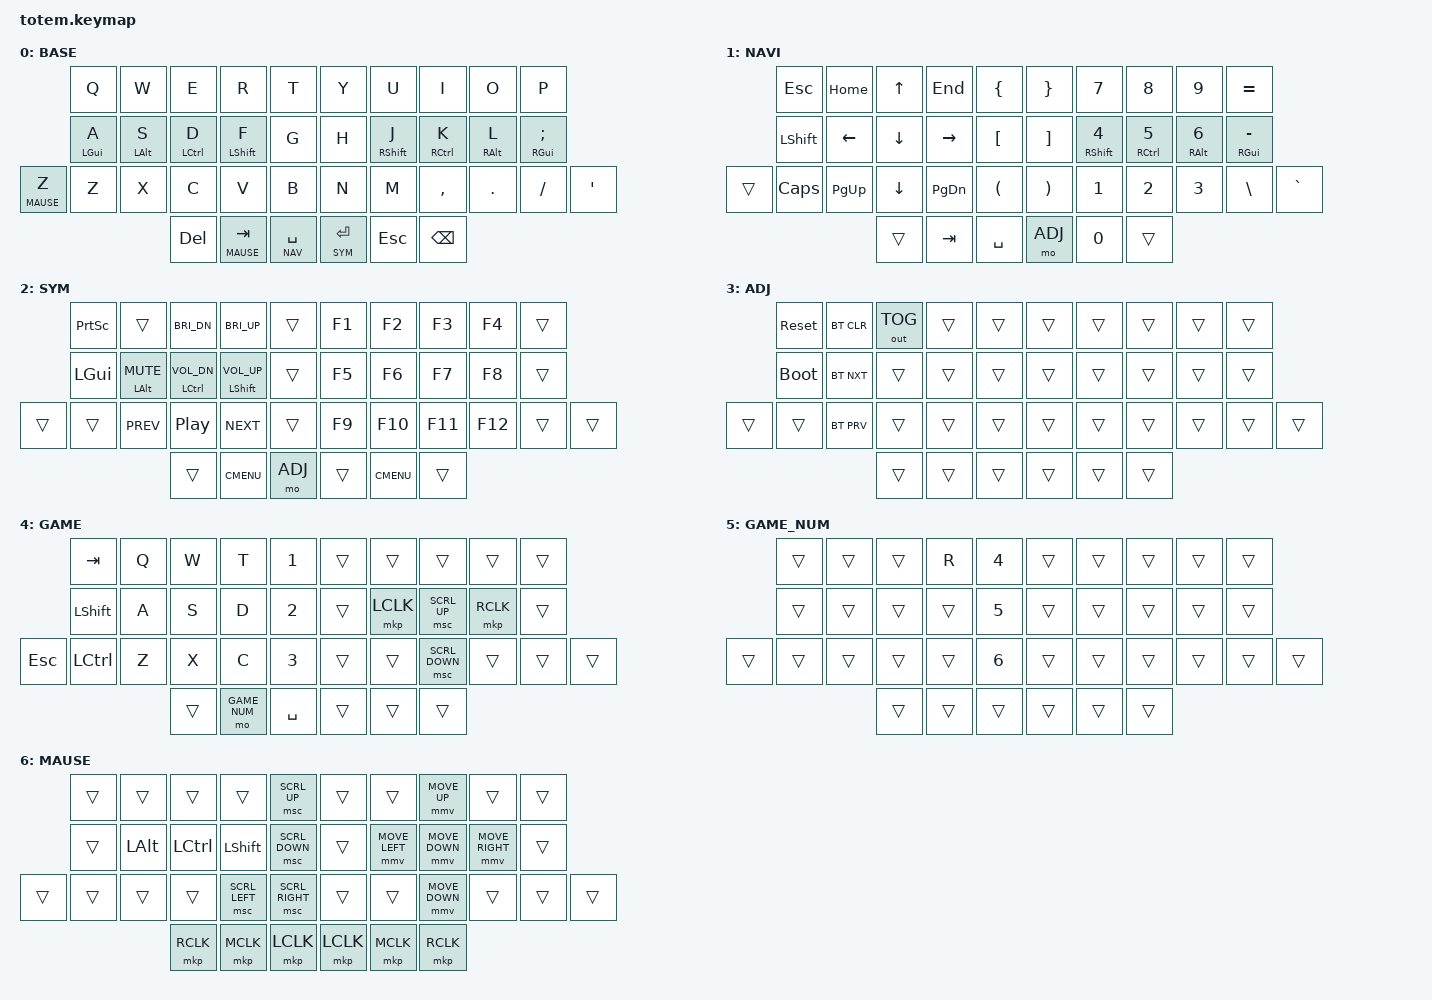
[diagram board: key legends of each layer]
//
//                                                        ▀▀▀▀▀     ▀▀▀▀▀          ▀▀█▀▀
//                                                        ▄▀▀▀▄  ▄  ▄▀▀▀▄  ▄  ▄▀▀▀▄  █  ▄▀▀▀▄
//                                                        █   █  █  █   █  █  █   █  █  █   █
//                                                         ▀▀▀   █   ▀▀▀   █   ▀▀▀   ▀   ▀▀▀
//                                                               █      ▄▄▄█▄▄▄    █   █  
//                                                               ▀      █  █  █     █▄█
//                                                             ▀▀▀▀▀    █  █  █      ▀
//                                                                      ▀  ▀  ▀
//
// ▄▄▄▄▄▄▄▄▄▄▄▄▄▄▄▄▄▄▄▄▄▄▄▄▄▄▄▄▄▄▄▄▄▄▄▄▄▄▄▄▄▄▄▄▄▄▄▄▄▄▄▄▄▄▄▄▄▄▄▄▄▄▄▄▄▄▄▄▄▄▄▄▄▄▄▄▄▄▄▄▄▄▄▄▄▄▄▄▄▄▄▄▄▄▄▄▄▄▄▄▄▄▄▄▄▄▄▄▄▄▄▄▄▄▄▄▄▄▄▄▄▄▄▄▄▄▄▄▄▄▄▄▄▄▄▄▄▄▄▄▄▄▄▄▄▄▄▄▄

#include <behaviors.dtsi>
#include <dt-bindings/zmk/bt.h>
#include <dt-bindings/zmk/keys.h>
#include <dt-bindings/zmk/outputs.h>
#include <dt-bindings/zmk/pointing.h>

#define ZMK_POINTING_DEFAULT_MOVE_VAL 600  // default: 600
#define ZMK_POINTING_DEFAULT_SCRL_VAL 10   // default: 10

#define BASE 0
#define NAV  1
#define SYM  2
#define ADJ  3
#define GAME 4
#define GAME_NUM 5
#define MAUSE 6


&mt {
    quick-tap-ms = <100>;
    global-quick-tap;
    flavor = "tap-preferred";
    tapping-term-ms = <170>;
};

/ {
    combos {
        compatible = "zmk,combos";

        combo_esc {
            timeout-ms = <50>;
            key-positions = <0 1>;
            bindings = <&kp ESC>;
        };

        combo_game {
            timeout-ms = <50>;
            key-positions = <0 4>;
            bindings = <&tog GAME>;
        };
    };

    macros {
        gif: gif {
            label = "giphy";
            compatible = "zmk,behavior-macro";
            #binding-cells = <0>;
            bindings
                = <&macro_press &kp LSHFT>
                , <&macro_tap &kp N2>
                , <&macro_release &kp LSHFT>
                , <&macro_tap &kp G &kp I &kp F>
                ;
        };
    };



    keymap {
                compatible = "zmk,keymap";
// ▄▄▄▄▄▄▄▄▄▄▄▄▄▄▄▄▄▄▄▄▄▄▄▄▄▄▄▄▄▄▄▄▄▄▄▄▄▄▄▄▄▄▄▄▄▄▄▄▄▄▄▄▄▄▄▄▄▄▄▄▄▄▄▄▄▄▄▄▄▄▄▄▄▄▄▄▄▄▄▄▄▄▄▄▄▄▄▄▄▄▄▄▄▄▄▄▄▄▄▄▄▄▄▄▄▄▄▄▄▄▄▄▄▄▄▄▄▄▄▄▄▄▄▄▄▄▄▄▄▄▄▄▄▄▄▄▄▄▄▄▄▄▄▄▄▄▄▄▄

                base_layer {
// ┏━━━━━━━━━━━━━━━━━━━━━━━━━━━━━━━━━━━━━━━┓
label= "BASE"                              ;
// ┗━━━━━━━━━━━━━━━━━━━━━━━━━━━━━━━━━━━━━━━┛
//             ┏━━━━━━━━━━━┳━━━━━━━━━━━┳━━━━━━━━━━━┳━━━━━━━━━━━┳━━━━━━━━━━━┓   ┏━━━━━━━━━━━┳━━━━━━━━━━━┳━━━━━━━━━━━┳━━━━━━━━━━━┳━━━━━━━━━━━┓
//             ┃     Q     ┃     W     ┃     E     ┃     R     ┃     T     ┃   ┃     Y     ┃     U     ┃     I     ┃     O     ┃     P     ┃
//             ┣━━━━━━━━━━━╋━━━━━━━━━━━╋━━━━━━━━━━━╋━━━━━━━━━━━╋━━━━━━━━━━━┫   ┣━━━━━━━━━━━╋━━━━━━━━━━━╋━━━━━━━━━━━╋━━━━━━━━━━━╋━━━━━━━━━━━┫
//             ┃     A     ┃     S     ┃     D     ┃     F     ┃     G     ┃   ┃     H     ┃     J     ┃     K     ┃     L     ┃     ;:    ┃
// ┏━━━━━━━━━━━╋━━━━━━━━━━━╋━━━━━━━━━━━╋━━━━━━━━━━━╋━━━━━━━━━━━╋━━━━━━━━━━━┫   ┣━━━━━━━━━━━╋━━━━━━━━━━━╋━━━━━━━━━━━╋━━━━━━━━━━━╋━━━━━━━━━━━╋━━━━━━━━━━━┓
// ┃           ┃     Z     ┃     X     ┃     C     ┃     V     ┃     B     ┃   ┃     N     ┃     M     ┃     ,<    ┃     .>    ┃     /?    ┃     ' "   ┃
// ┗━━━━━━━━━━━┻━━━━━━━━━━━┻━━━━━━━━━━━╋━━━━━━━━━━━╋━━━━━━━━━━━╋━━━━━━━━━━━┫   ┣━━━━━━━━━━━╋━━━━━━━━━━━╋━━━━━━━━━━━╋━━━━━━━━━━━┻━━━━━━━━━━━┻━━━━━━━━━━━┛
//                                     ┃    DEL    ┃ TAB/Mause ┃    SPC    ┃   ┃   ENTER   ┃    ESC    ┃    BSPC   ┃
//                                     ┗━━━━━━━━━━━┻━━━━━━━━━━━┻━━━━━━━━━━━┛   ┗━━━━━━━━━━━┻━━━━━━━━━━━┻━━━━━━━━━━━┛
 bindings = <
// ╷           ╷           ╷           ╷           ╷           ╷           ╷   ╷           ╷           ╷           ╷           ╷           ╷           ╷

                &kp Q       &kp W       &kp E       &kp R       &kp T           &kp Y       &kp U       &kp I       &kp O       &kp P
                &mt LGUI A  &mt LALT S  &mt LCTRL D &mt LSHFT F &kp G           &kp H       &mt RSHFT J &mt RCTRL K &mt RALT L  &mt RGUI SEMI
    &lt MAUSE Z &kp Z       &kp X       &kp C       &kp V       &kp B           &kp N       &kp M       &kp COMMA   &kp DOT     &kp FSLH    &kp SQT
                                        &kp DEL   &lt MAUSE TAB &lt NAV SPACE   &lt SYM RET &kp ESC    &kp BSPC
                        >;
                };

// ▄▄▄▄▄▄▄▄▄▄▄▄▄▄▄▄▄▄▄▄▄▄▄▄▄▄▄▄▄▄▄▄▄▄▄▄▄▄▄▄▄▄▄▄▄▄▄▄▄▄▄▄▄▄▄▄▄▄▄▄▄▄▄▄▄▄▄▄▄▄▄▄▄▄▄▄▄▄▄▄▄▄▄▄▄▄▄▄▄▄▄▄▄▄▄▄▄▄▄▄▄▄▄▄▄▄▄▄▄▄▄▄▄▄▄▄▄▄▄▄▄▄▄▄▄▄▄▄▄▄▄▄▄▄▄▄▄▄▄▄▄▄▄▄▄▄▄▄▄


                nav_layer {
// ┏━━━━━━━━━━━━━━━━━━━━━━━━━━━━━━━━━━━━━━━┓
label= "NAVI"                              ;
// ┗━━━━━━━━━━━━━━━━━━━━━━━━━━━━━━━━━━━━━━━┛
//             ┏━━━━━━━━━━━┳━━━━━━━━━━━┳━━━━━━━━━━━┳━━━━━━━━━━━┳━━━━━━━━━━━┓   ┏━━━━━━━━━━━┳━━━━━━━━━━━┳━━━━━━━━━━━┳━━━━━━━━━━━┳━━━━━━━━━━━┓
//             ┃   esc     ┃   Home    ┃     UP    ┃    End    ┃     {     ┃   ┃     }     ┃     7 &   ┃     8 *   ┃     9 (   ┃     =+    ┃
//             ┣━━━━━━━━━━━╋━━━━━━━━━━━╋━━━━━━━━━━━╋━━━━━━━━━━━╋━━━━━━━━━━━┫   ┣━━━━━━━━━━━╋━━━━━━━━━━━╋━━━━━━━━━━━╋━━━━━━━━━━━╋━━━━━━━━━━━┫
//             ┃   SHIFT   ┃   LEFT    ┃    DOWN   ┃   RIGHT   ┃     [     ┃   ┃     ]     ┃     4 $   ┃     5 %   ┃     6 ^   ┃     -_    ┃
// ┏━━━━━━━━━━━╋━━━━━━━━━━━╋━━━━━━━━━━━╋━━━━━━━━━━━╋━━━━━━━━━━━╋━━━━━━━━━━━┫   ┣━━━━━━━━━━━╋━━━━━━━━━━━╋━━━━━━━━━━━╋━━━━━━━━━━━╋━━━━━━━━━━━╋━━━━━━━━━━━┓
// ┃           ┃   C LOCK  ┃   P UP    ┃    DOWN   ┃  P DOWN   ┃     (     ┃   ┃     )     ┃     1 !   ┃     2 @   ┃     3 #   ┃     \ ┃   ┃    `      ┃
// ┗━━━━━━━━━━━┻━━━━━━━━━━━┻━━━━━━━━━━━╋━━━━━━━━━━━╋━━━━━━━━━━━╋━━━━━━━━━━━┫   ┣━━━━━━━━━━━╋━━━━━━━━━━━╋━━━━━━━━━━━╋━━━━━━━━━━━┻━━━━━━━━━━━┻━━━━━━━━━━━┛
//                                     ┃           ┃    TAB    ┃    SPC    ┃   ┃    ADJ    ┃     0  )  ┃           ┃
//                                     ┗━━━━━━━━━━━┻━━━━━━━━━━━┻━━━━━━━━━━━┛   ┗━━━━━━━━━━━┻━━━━━━━━━━━┻━━━━━━━━━━━┛
 bindings = <
// ╷           ╷           ╷           ╷           ╷           ╷           ╷   ╷           ╷           ╷           ╷           ╷           ╷           ╷

                &kp ESC     &kp HOME    &kp UP      &kp END     &kp LBRC        &kp RBRC    &kp N7       &kp N8       &kp N9      &kp EQUAL
                &kp LSHFT   &kp LEFT    &kp DOWN    &kp RIGHT   &kp LBKT        &kp RBKT    &mt RSHFT N4 &mt RCTRL N5 &mt RALT N6 &mt RGUI MINUS
    &trans      &kp CAPS    &kp PG_UP   &kp DOWN    &kp PG_DN   &kp LPAR        &kp RPAR    &kp N1       &kp N2       &kp N3      &kp BSLH    &kp GRAVE     
                                        &trans      &kp TAB     &kp SPACE       &mo ADJ     &kp N0       &trans     
                        >;
                };

// ▄▄▄▄▄▄▄▄▄▄▄▄▄▄▄▄▄▄▄▄▄▄▄▄▄▄▄▄▄▄▄▄▄▄▄▄▄▄▄▄▄▄▄▄▄▄▄▄▄▄▄▄▄▄▄▄▄▄▄▄▄▄▄▄▄▄▄▄▄▄▄▄▄▄▄▄▄▄▄▄▄▄▄▄▄▄▄▄▄▄▄▄▄▄▄▄▄▄▄▄▄▄▄▄▄▄▄▄▄▄▄▄▄▄▄▄▄▄▄▄▄▄▄▄▄▄▄▄▄▄▄▄▄▄▄▄▄▄▄▄▄▄▄▄▄▄▄▄▄


                sim_layer {
// ┏━━━━━━━━━━━━━━━━━━━━━━━━━━━━━━━━━━━━━━━┓
label= "SYM"                               ;
// ┗━━━━━━━━━━━━━━━━━━━━━━━━━━━━━━━━━━━━━━━┛
//             ┏━━━━━━━━━━━┳━━━━━━━━━━━┳━━━━━━━━━━━┳━━━━━━━━━━━┳━━━━━━━━━━━┓             ┏━━━━━━━━━━━┳━━━━━━━━━━━┳━━━━━━━━━━━┳━━━━━━━━━━━┳━━━━━━━━━━━┓
//             ┃   PSCRN   ┃           ┃    bri-   ┃    bri+   ┃           ┃             ┃     F1    ┃     F2    ┃     F3    ┃     F4    ┃           ┃
//             ┣━━━━━━━━━━━╋━━━━━━━━━━━╋━━━━━━━━━━━╋━━━━━━━━━━━╋━━━━━━━━━━━┫             ┣━━━━━━━━━━━╋━━━━━━━━━━━╋━━━━━━━━━━━╋━━━━━━━━━━━╋━━━━━━━━━━━┫
//             ┃           ┃    MUTE   ┃    VOL-   ┃    VOL+   ┃           ┃             ┃     F5    ┃     F6    ┃     F7    ┃     F8    ┃           ┃
// ┏━━━━━━━━━━━╋━━━━━━━━━━━╋━━━━━━━━━━━╋━━━━━━━━━━━╋━━━━━━━━━━━╋━━━━━━━━━━━┫             ┣━━━━━━━━━━━╋━━━━━━━━━━━╋━━━━━━━━━━━╋━━━━━━━━━━━╋━━━━━━━━━━━╋━━━━━━━━━━━┓
// ┃           ┃           ┃    LAST   ┃ play/pause┃    NEXT   ┃           ┃             ┃     F9    ┃     F10   ┃     F11   ┃     F12   ┃           ┃           ┃
// ┗━━━━━━━━━━━┻━━━━━━━━━━━┻━━━━━━━━━━━╋━━━━━━━━━━━╋━━━━━━━━━━━╋━━━━━━━━━━━┫             ┣━━━━━━━━━━━╋━━━━━━━━━━━╋━━━━━━━━━━━╋━━━━━━━━━━━┻━━━━━━━━━━━┻━━━━━━━━━━━┛
//                                     ┃           ┃  K_CMENU  ┃    ADJ    ┃             ┃           ┃  K_CMENU  ┃           ┃
//                                     ┗━━━━━━━━━━━┻━━━━━━━━━━━┻━━━━━━━━━━━┛             ┗━━━━━━━━━━━┻━━━━━━━━━━━┻━━━━━━━━━━━┛
 bindings = <
// ╷           ╷           ╷           ╷           ╷           ╷           ╷             ╷           ╷           ╷           ╷           ╷           ╷           ╷

                &kp PSCRN    &trans     &kp C_BRI_DN &kp C_BRI_UP  &trans                   &kp F1       &kp F2      &kp F3      &kp F4      &trans        
                &kp LGUI &mt LALT C_MUTE &mt LCTRL C_VOL_DN &mt LSHFT C_VOL_UP  &trans      &kp F5       &kp F6      &kp F7      &kp F8      &trans  
    &trans      &trans       &kp C_PREV &kp C_PP     &kp C_NEXT    &trans                   &kp F9       &kp F10     &kp F11     &kp F12     &trans      &trans         
                                        &trans       &kp K_CMENU   &mo ADJ                  &trans       &kp K_CMENU &trans           
                        >;
                };

// ▄▄▄▄▄▄▄▄▄▄▄▄▄▄▄▄▄▄▄▄▄▄▄▄▄▄▄▄▄▄▄▄▄▄▄▄▄▄▄▄▄▄▄▄▄▄▄▄▄▄▄▄▄▄▄▄▄▄▄▄▄▄▄▄▄▄▄▄▄▄▄▄▄▄▄▄▄▄▄▄▄▄▄▄▄▄▄▄▄▄▄▄▄▄▄▄▄▄▄▄▄▄▄▄▄▄▄▄▄▄▄▄▄▄▄▄▄▄▄▄▄▄▄▄▄▄▄▄▄▄▄▄▄▄▄▄▄▄▄▄▄▄▄▄▄▄▄▄▄


                adjust_layer {
// ┏━━━━━━━━━━━━━━━━━━━━━━━━━━━━━━━━━━━━━━━┓
label= "ADJ"                               ;
// ┗━━━━━━━━━━━━━━━━━━━━━━━━━━━━━━━━━━━━━━━┛
//             ┏━━━━━━━━━━━┳━━━━━━━━━━━┳━━━━━━━━━━━┳━━━━━━━━━━━┳━━━━━━━━━━━┓   ┏━━━━━━━━━━━┳━━━━━━━━━━━┳━━━━━━━━━━━┳━━━━━━━━━━━┳━━━━━━━━━━━┓
//             ┃   RESET   ┃ BT CLEAR  ┃  OUT TOG  ┃           ┃           ┃   ┃           ┃           ┃           ┃           ┃           ┃
//             ┣━━━━━━━━━━━╋━━━━━━━━━━━╋━━━━━━━━━━━╋━━━━━━━━━━━╋━━━━━━━━━━━┫   ┣━━━━━━━━━━━╋━━━━━━━━━━━╋━━━━━━━━━━━╋━━━━━━━━━━━╋━━━━━━━━━━━┫
//             ┃ BOOTLOAD  ┃ BT NEXT   ┃           ┃           ┃           ┃   ┃           ┃           ┃           ┃           ┃           ┃
// ┏━━━━━━━━━━━╋━━━━━━━━━━━╋━━━━━━━━━━━╋━━━━━━━━━━━╋━━━━━━━━━━━╋━━━━━━━━━━━┫   ┣━━━━━━━━━━━╋━━━━━━━━━━━╋━━━━━━━━━━━╋━━━━━━━━━━━╋━━━━━━━━━━━╋━━━━━━━━━━━┓
// ┃           ┃           ┃ BT PREV   ┃           ┃           ┃           ┃   ┃           ┃           ┃           ┃           ┃           ┃           ┃
// ┗━━━━━━━━━━━┻━━━━━━━━━━━┻━━━━━━━━━━━╋━━━━━━━━━━━╋━━━━━━━━━━━╋━━━━━━━━━━━┫   ┣━━━━━━━━━━━╋━━━━━━━━━━━╋━━━━━━━━━━━╋━━━━━━━━━━━┻━━━━━━━━━━━┻━━━━━━━━━━━┛
//                                     ┃           ┃           ┃           ┃   ┃           ┃           ┃           ┃
//                                     ┗━━━━━━━━━━━┻━━━━━━━━━━━┻━━━━━━━━━━━┛   ┗━━━━━━━━━━━┻━━━━━━━━━━━┻━━━━━━━━━━━┛
 bindings = <
// ╷           ╷           ╷           ╷           ╷           ╷           ╷   ╷           ╷           ╷           ╷           ╷           ╷           ╷

                &sys_reset  &bt BT_CLR &out OUT_TOG &trans      &trans          &trans      &trans      &trans      &trans      &trans
                &bootloader &bt BT_NXT  &trans      &trans      &trans          &trans      &trans      &trans      &trans      &trans  
    &trans      &trans      &bt BT_PRV  &trans      &trans      &trans          &trans      &trans      &trans      &trans      &trans     &trans         
                                        &trans      &trans      &trans          &trans      &trans      &trans      
                        >;
                };


// ▄▄▄▄▄▄▄▄▄▄▄▄▄▄▄▄▄▄▄▄▄▄▄▄▄▄▄▄▄▄▄▄▄▄▄▄▄▄▄▄▄▄▄▄▄▄▄▄▄▄▄▄▄▄▄▄▄▄▄▄▄▄▄▄▄▄▄▄▄▄▄▄▄▄▄▄▄▄▄▄▄▄▄▄▄▄▄▄▄▄▄▄▄▄▄▄▄▄▄▄▄▄▄▄▄▄▄▄▄▄▄▄▄▄▄▄▄▄▄▄▄▄▄▄▄▄▄▄▄▄▄▄▄▄▄▄▄▄▄▄▄▄▄▄▄▄▄▄▄
                
                game_layer {
//             ┏━━━━━━━━━━━┳━━━━━━━━━━━┳━━━━━━━━━━━┳━━━━━━━━━━━┳━━━━━━━━━━━┓   ┏━━━━━━━━━━━┳━━━━━━━━━━━┳━━━━━━━━━━━┳━━━━━━━━━━━┳━━━━━━━━━━━┓
//             ┃    TAB    ┃     Q     ┃     W     ┃     T     ┃     1     ┃   ┃           ┃           ┃           ┃           ┃           ┃
//             ┣━━━━━━━━━━━╋━━━━━━━━━━━╋━━━━━━━━━━━╋━━━━━━━━━━━╋━━━━━━━━━━━┫   ┣━━━━━━━━━━━╋━━━━━━━━━━━╋━━━━━━━━━━━╋━━━━━━━━━━━╋━━━━━━━━━━━┫
//             ┃   SHIFT   ┃     A     ┃     S     ┃     D     ┃     2     ┃   ┃           ┃    LCLK   ┃  SCRL_UP  ┃    RCLK   ┃           ┃
// ┏━━━━━━━━━━━╋━━━━━━━━━━━╋━━━━━━━━━━━╋━━━━━━━━━━━╋━━━━━━━━━━━╋━━━━━━━━━━━┫   ┣━━━━━━━━━━━╋━━━━━━━━━━━╋━━━━━━━━━━━╋━━━━━━━━━━━╋━━━━━━━━━━━╋━━━━━━━━━━━┓
// ┃     ESC   ┃   CTRL    ┃     Z     ┃     X     ┃     C     ┃     3     ┃   ┃           ┃           ┃ SCRL_DOWN ┃           ┃           ┃           ┃
// ┗━━━━━━━━━━━┻━━━━━━━━━━━┻━━━━━━━━━━━╋━━━━━━━━━━━╋━━━━━━━━━━━╋━━━━━━━━━━━┫   ┣━━━━━━━━━━━╋━━━━━━━━━━━╋━━━━━━━━━━━╋━━━━━━━━━━━┻━━━━━━━━━━━┻━━━━━━━━━━━┛
//                                     ┃           ┃ GAME_NUM  ┃   SPACE   ┃   ┃           ┃           ┃           ┃
//                                     ┗━━━━━━━━━━━┻━━━━━━━━━━━┻━━━━━━━━━━━┛   ┗━━━━━━━━━━━┻━━━━━━━━━━━┻━━━━━━━━━━━┛

                    label= "GAME";
                    bindings = <
                &kp TAB     &kp Q       &kp W       &kp T      &kp N1             &trans      &trans     &trans    &trans      &trans
                &kp LSHFT   &kp A       &kp S       &kp D      &kp N2             &trans      &mkp LCLK  &msc SCRL_UP &mkp RCLK      &trans  
    &kp ESC     &kp LCTRL   &kp Z       &kp X       &kp C      &kp N3             &trans      &trans     &msc SCRL_DOWN  &trans      &trans     &trans         
                                        &trans      &mo GAME_NUM &kp SPACE        &trans      &trans      &trans>;
                };

// ▄▄▄▄▄▄▄▄▄▄▄▄▄▄▄▄▄▄▄▄▄▄▄▄▄▄▄▄▄▄▄▄▄▄▄▄▄▄▄▄▄▄▄▄▄▄▄▄▄▄▄▄▄▄▄▄▄▄▄▄▄▄▄▄▄▄▄▄▄▄▄▄▄▄▄▄▄▄▄▄▄▄▄▄▄▄▄▄▄▄▄▄▄▄▄▄▄▄▄▄▄▄▄▄▄▄▄▄▄▄▄▄▄▄▄▄▄▄▄▄▄▄▄▄▄▄▄▄▄▄▄▄▄▄▄▄▄▄▄▄▄▄▄▄▄▄▄▄▄


//             ┏━━━━━━━━━━━┳━━━━━━━━━━━┳━━━━━━━━━━━┳━━━━━━━━━━━┳━━━━━━━━━━━┓   ┏━━━━━━━━━━━┳━━━━━━━━━━━┳━━━━━━━━━━━┳━━━━━━━━━━━┳━━━━━━━━━━━┓
//             ┃           ┃           ┃           ┃     R     ┃     4     ┃   ┃           ┃           ┃           ┃           ┃           ┃
//             ┣━━━━━━━━━━━╋━━━━━━━━━━━╋━━━━━━━━━━━╋━━━━━━━━━━━╋━━━━━━━━━━━┫   ┣━━━━━━━━━━━╋━━━━━━━━━━━╋━━━━━━━━━━━╋━━━━━━━━━━━╋━━━━━━━━━━━┫
//             ┃           ┃           ┃           ┃           ┃     5     ┃   ┃           ┃           ┃           ┃           ┃           ┃
// ┏━━━━━━━━━━━╋━━━━━━━━━━━╋━━━━━━━━━━━╋━━━━━━━━━━━╋━━━━━━━━━━━╋━━━━━━━━━━━┫   ┣━━━━━━━━━━━╋━━━━━━━━━━━╋━━━━━━━━━━━╋━━━━━━━━━━━╋━━━━━━━━━━━╋━━━━━━━━━━━┓
// ┃           ┃           ┃           ┃           ┃           ┃     6     ┃   ┃           ┃           ┃           ┃           ┃           ┃           ┃
// ┗━━━━━━━━━━━┻━━━━━━━━━━━┻━━━━━━━━━━━╋━━━━━━━━━━━╋━━━━━━━━━━━╋━━━━━━━━━━━┫   ┣━━━━━━━━━━━╋━━━━━━━━━━━╋━━━━━━━━━━━╋━━━━━━━━━━━┻━━━━━━━━━━━┻━━━━━━━━━━━┛
//                                     ┃           ┃           ┃           ┃   ┃           ┃           ┃           ┃
//                                     ┗━━━━━━━━━━━┻━━━━━━━━━━━┻━━━━━━━━━━━┛   ┗━━━━━━━━━━━┻━━━━━━━━━━━┻━━━━━━━━━━━┛
                game_num_layer {
                    label= "GAME_NUM";
                    bindings = <
                &trans       &trans      &trans      &kp R      &kp N4       &trans      &trans      &trans      &trans      &trans
                &trans       &trans      &trans      &trans      &kp N5       &trans      &trans      &trans      &trans      &trans  
    &trans      &trans       &trans      &trans      &trans      &kp N6       &trans      &trans      &trans      &trans      &trans     &trans         
                                            &trans      &trans      &trans          &trans      &trans      &trans      
                        >;
                };


// ▄▄▄▄▄▄▄▄▄▄▄▄▄▄▄▄▄▄▄▄▄▄▄▄▄▄▄▄▄▄▄▄▄▄▄▄▄▄▄▄▄▄▄▄▄▄▄▄▄▄▄▄▄▄▄▄▄▄▄▄▄▄▄▄▄▄▄▄▄▄▄▄▄▄▄▄▄▄▄▄▄▄▄▄▄▄▄▄▄▄▄▄▄▄▄▄▄▄▄▄▄▄▄▄▄▄▄▄▄▄▄▄▄▄▄▄▄▄▄▄▄▄▄▄▄▄▄▄▄▄▄▄▄▄▄▄▄▄▄▄▄▄▄▄▄▄▄▄▄


//             ┏━━━━━━━━━━━┳━━━━━━━━━━━┳━━━━━━━━━━━┳━━━━━━━━━━━┳━━━━━━━━━━━┓   ┏━━━━━━━━━━━┳━━━━━━━━━━━┳━━━━━━━━━━━┳━━━━━━━━━━━┳━━━━━━━━━━━┓
//             ┃           ┃           ┃           ┃           ┃  SCRL_UP  ┃   ┃           ┃           ┃  MOVE_UP  ┃           ┃           ┃
//             ┣━━━━━━━━━━━╋━━━━━━━━━━━╋━━━━━━━━━━━╋━━━━━━━━━━━╋━━━━━━━━━━━┫   ┣━━━━━━━━━━━╋━━━━━━━━━━━╋━━━━━━━━━━━╋━━━━━━━━━━━╋━━━━━━━━━━━┫
//             ┃           ┃           ┃           ┃           ┃ SCRL_DOWN ┃   ┃           ┃ MOVE_LEFT ┃ MOVE_DOWN ┃ MOVE_RIGHT┃           ┃
// ┏━━━━━━━━━━━╋━━━━━━━━━━━╋━━━━━━━━━━━╋━━━━━━━━━━━╋━━━━━━━━━━━╋━━━━━━━━━━━┫   ┣━━━━━━━━━━━╋━━━━━━━━━━━╋━━━━━━━━━━━╋━━━━━━━━━━━╋━━━━━━━━━━━╋━━━━━━━━━━━┓
// ┃           ┃           ┃           ┃           ┃ SCRL_LEFT ┃ SCRL_RIGHT┃   ┃           ┃           ┃ MOVE_DOWN ┃           ┃           ┃           ┃
// ┗━━━━━━━━━━━┻━━━━━━━━━━━┻━━━━━━━━━━━╋━━━━━━━━━━━╋━━━━━━━━━━━╋━━━━━━━━━━━┫   ┣━━━━━━━━━━━╋━━━━━━━━━━━╋━━━━━━━━━━━╋━━━━━━━━━━━┻━━━━━━━━━━━┻━━━━━━━━━━━┛
//                                     ┃    RCLK   ┃    MCLK   ┃    LCLK   ┃   ┃   LCLK    ┃   MCLK    ┃   RCLK    ┃
//                                     ┗━━━━━━━━━━━┻━━━━━━━━━━━┻━━━━━━━━━━━┛   ┗━━━━━━━━━━━┻━━━━━━━━━━━┻━━━━━━━━━━━┛
                mouse {
                    label= "MAUSE";
                    bindings = <
                   &trans       &trans   &trans       &trans     &msc SCRL_UP      &trans      &trans   &mmv MOVE_UP  &trans      &trans
                   &trans       &kp LALT &kp LCTRL    &kp LSHFT  &msc SCRL_DOWN    &trans  &mmv MOVE_LEFT &mmv MOVE_DOWN &mmv MOVE_RIGHT &trans  
       &trans      &trans       &trans   &trans  &msc SCRL_LEFT  &msc SCRL_RIGHT   &trans      &trans   &mmv MOVE_DOWN &trans      &trans     &trans         
                                         &mkp RCLK    &mkp MCLK  &mkp LCLK         &mkp LCLK   &mkp MCLK  &mkp RCLK      
                        >;
                };

        };
};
